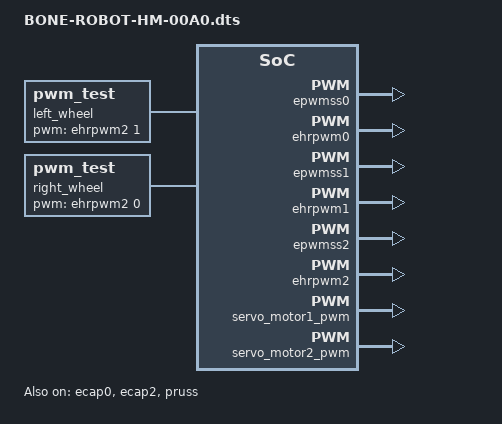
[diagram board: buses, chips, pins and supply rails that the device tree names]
/*
 * Copyright (C) 2013 Bas Laarhoven
 *
 * This program is free software; you can redistribute it and/or modify
 * it under the terms of the GNU General Public License version 2 as
 * published by the Free Software Foundation.
 *
 * version 1.1 - 2013-08-01 initial version copied from 2191-R2.dts
 * version 1.2 - 2013-08-05 created version for BeBoPr with enable workaround.
 *               Can be used with all BeagleBone colors. On a BBB, use with
 *               uEnv.txt that disables HDMI and eMMC and loads this overlay,
 *               as shown below (optargs all on a single line!):
 *
 *                  optargs=quiet capemgr.disable_partno=BB-BONELT-HDMI,\
 *                                                       BB-BONELT-HDMIN,\
 *                                capemgr.enable_partno=bone-robot-hm
 *
 */
/dts-v1/;
/plugin/;

/ {
	compatible = "ti,beaglebone", "ti,beaglebone-black";

	/* identification */
	part-number = "BONE-ROBOT-HM";
	version = "00A0";

	exclusive-use =
	/* state the resources this cape uses */

	/* ------ PWM ------ */
		"P8.13",    /* EHRPWM2B */
		"P8.19",    /* EHRPWM2A */
		"P9.21",    /* EHRPWM0B */
		"P9.22",    /* EHRPWM0A */
		"ehrpwm2A",
		"ehrpwm2B",
		"ehrpwm0A",
		"ehrpwm0B",

	/* ------ DC MOTOR DIRECTION ------ */
		"P9.11",    /* gpio0.30 */
		"P9.12",    /* gpio1.28 */
		"P9.13",    /* gpio0.31 */
		"P9.14",    /* gpio1.18 */

	/* ------ DC MOTOR Decoder ------ */
        "P8.16",    /* pr1_pru0_pru_r31_14,  left side */
        "P8.27",    /* pr1_pru1_pru_r31_8,  right side */
		"pru0",
		"pru1",
		"pruss",

	/* ------ KEYES LED ------ */
        "P9.15",
        "P9.16",
        "P9.23",

	/* ------ MPU6050 ------ */
		/* the pin header uses */
		"P9.20",	/* i2c2_sda */
		"P9.19",	/* i2c2_scl */
        "P8.7",     /* interrupt flag */
		/* the hardware ip uses */
		"i2c1",
		"i2c2";

	/* ----------- PWM ------------ */
	fragment@10 {
		target = <&epwmss0>;
		__overlay__ {
			status = "okay";
		};
	};

	fragment@11 {
		target = <&ehrpwm0>;
		__overlay__ {
			status = "okay";
		};
	};

	fragment@12 {
		target = <&ecap0>;
		__overlay__ {
			status = "okay";
		};
	};

	fragment@13 {
		target = <&epwmss1>;
		__overlay__ {
			status = "okay";
		};
	};

	fragment@14 {
		target = <&ehrpwm1>;
		__overlay__ {
			status = "okay";
		};
	};

	fragment@15 {
		target = <&epwmss2>;
		__overlay__ {
			status = "okay";
		};
	};

	fragment@16 {
		target = <&ehrpwm2>;
		__overlay__ {
			status = "okay";
		};
	};

	fragment@17 {
		target = <&ecap2>;
		__overlay__ {
			status = "okay";
		};
	};

	fragment@18 {
		target = <&am33xx_pinmux>;
		__overlay__ {

			P8_13_ehrpwm_pin: P8_13_ehrpwm_pin {
				pinctrl-single,pins = <0x24  0x4>; /* P8_13 | MODE 4 */
			};

			P8_19_ehrpwm_pin: P8_19_ehrpwm_pin {
				pinctrl-single,pins = <0x20  0x4>; /* P8_19 | MODE 4 */
			};

			P9_21_ehrpwm_pin: P9_21_ehrpwm_pin {
				pinctrl-single,pins = <0x154  0x3>; /* P9_21 | MODE 3 */
			};

			P9_22_ehrpwm_pin: P9_22_ehrpwm_pin {
				pinctrl-single,pins = <0x150  0x3>; /* P9_22 | MODE 3 */
			};

		};
	};

	fragment@19 {
		target = <&ocp>;
		__overlay__ {
			left_wheel {
				compatible	= "pwm_test";
				pwms		= <&ehrpwm2 1 20000000 0>;
				pwm-names	= "left_wheel";
				pinctrl-names	= "default";
				pinctrl-0	= <&P8_13_ehrpwm_pin>;
				enabled		= <0>;
				duty		= <1500000>;
				status		= "okay";
			};

			right_wheel {
				compatible	= "pwm_test";
				pwms		= <&ehrpwm2 0 20000000 0>;
				pwm-names	= "right_wheel";
				pinctrl-names	= "default";
				pinctrl-0	= <&P8_19_ehrpwm_pin>;
				enabled		= <0>;
				duty		= <1500000>;
				status		= "okay";
			};

			servo_motor1_pwm {
				compatible	= "pwm_test";
				pwms		= <&ehrpwm0 0 20000000 0>;
				pwm-names	= "servo_motor1";
				pinctrl-names	= "default";
				pinctrl-0	= <&P9_22_ehrpwm_pin>;
				enabled		= <0>;
				duty		= <1500000>;
				status		= "okay";
			};

			servo_motor2_pwm {
				compatible	= "pwm_test";
				pwms		= <&ehrpwm0 1 20000000 0>;
				pwm-names	= "servo_motor2";
				pinctrl-names	= "default";
				pinctrl-0	= <&P9_21_ehrpwm_pin>;
				enabled		= <0>;
				duty		= <1500000>;
				status		= "okay";
			};
		};
	};

	/* ----------- DC MOTOR DIRECTION ------------ */
	fragment@30 {
		target = <&am33xx_pinmux>;
		__overlay__ {

			motor_dir_pins: motor_dir_pins {
				status = "okay";
				pinctrl-single,pins = <
					0x70 0x17   /* P9_11, gpio0.30  */
					0x78 0x17   /* P9_12, gpio1.28  */
					0x74 0x17   /* P9_13, gpio0.31  */
					0x48 0x17   /* P9_14, gpio1.18  */
				>;
			};
		};
	};

	/* ----------- DC MOTOR Decoder ------------ */
	fragment@40 {
		target = <&am33xx_pinmux>;
		__overlay__ {
			motor_decoder_pinmux: motor_decoder_pinmux {
				status = "okay";
				pinctrl-single,pins = <
					0x38 0x2e   /* pr1_pru0_pru_r31_14, leftside, P8_16, mode6 in */
					0xe0 0x2e   /* pr1_pru1_pru_r31_8, rightside, P8_27, mode6 in */
				>;
			};
		};
	};

	fragment@41 {
		target = <&ocp>;
		__overlay__ {
		  motor_decoder_helper: helper {
			compatible = "bone-pinmux-helper";
			pinctrl-names = "default";
			pinctrl-0 = <&motor_decoder_pinmux>;
			status = "okay";
		  };
		};
	};

	fragment@42 {
		target = <&pruss>;
		__overlay__ {
			status = "okay";
		};
	};

	/* -------------------------- MPU6050 --------------------- */
	fragment@50 {
		target = <&am33xx_pinmux>;
		__overlay__ {
			hm_gyro_pins: pinmux_hm_gyro_pins {
				pinctrl-single,pins = <
					0x178 0x73	/* spi0_d1.i2c1_sda, SLEWCTRL_SLOW | INPUT_PULLUP | MODE2 */
					0x17c 0x73	/* spi0_cs0.i2c1_scl, SLEWCTRL_SLOW | INPUT_PULLUP | MODE2 */
                    0x90 0x37   /* gpio2[2] acts as the interrupt flag */
				>;
			};
		};
	};

	/* ----------- shining KEYES LED ------------ */
	fragment@60 {
		target = <&am33xx_pinmux>;
		__overlay__ {

			keyes_led_pins: keyes_led_pins {
				status = "okay";
				pinctrl-single,pins = <
					0x40 0x7   /* P9_15, gpio1.16, RED  */
					0x4c 0x7   /* P9_16, gpio1.19, GREEN  */
					0x44 0x7   /* P9_23, gpio1.17, BLUE  */
				>;
			};
		};
	};
};
